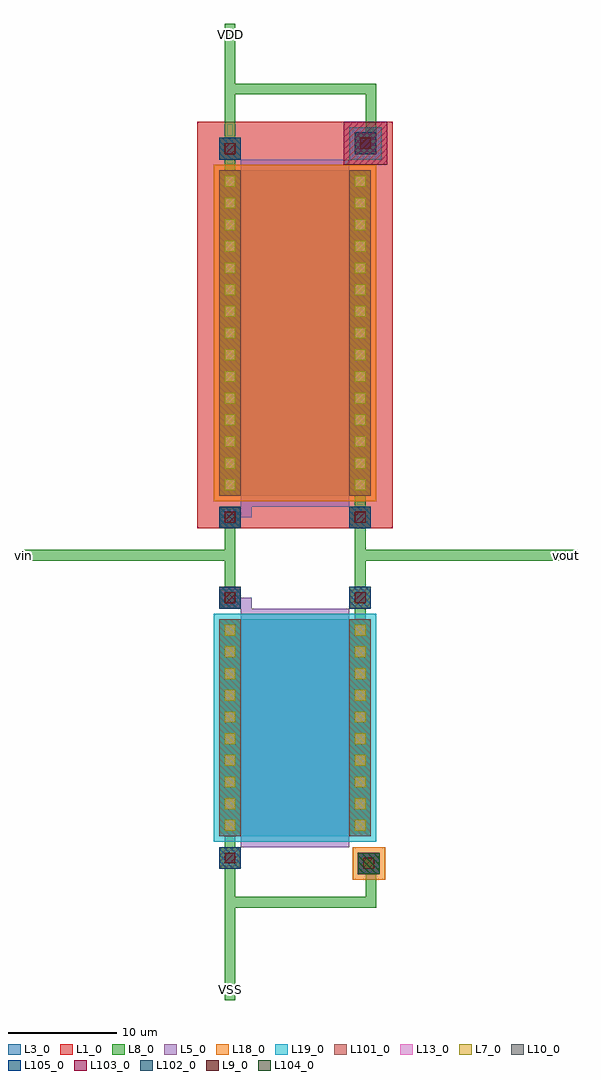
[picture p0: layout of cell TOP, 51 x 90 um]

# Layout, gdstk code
import gdstk
lib = gdstk.Library(unit=1e-6, precision=1e-07)
def R(c, l, rs):  # rectangles x0, y0, x1, y1
    for r in rs: c.add(gdstk.rectangle(r[:2], r[2:], *l))
L1_0 = (1, 0)
L3_0 = (3, 0)
L5_0 = (5, 0)
L7_0 = (7, 0)
L8_0 = (8, 0)
L9_0 = (9, 0)
L10_0 = (10, 0)
L13_0 = (13, 0)
L18_0 = (18, 0)
L19_0 = (19, 0)
L101_0 = (101, 0)
L102_0 = (102, 0)
L103_0 = (103, 0)
L104_0 = (104, 0)
L105_0 = (105, 0)

dcont = lib.new_cell('dcont')
R(dcont, L3_0, [(-1,-1,1,1)])
R(dcont, L7_0, [(-0.5,-0.5,0.5,0.5)])
R(dcont, L8_0, [(-1,-1,1,1)])
R(dcont, L13_0, [(-0.5,-0.5,0.5,0.5)])
R(dcont, L101_0, [(-1,-1,1,1)])

pcont = lib.new_cell('pcont')
R(pcont, L5_0, [(-1,-1,1,1)])
R(pcont, L7_0, [(-0.5,-0.5,0.5,0.5)])
R(pcont, L8_0, [(-1,-1,1,1)])
R(pcont, L13_0, [(-0.5,-0.5,0.5,0.5)])
R(pcont, L102_0, [(-1,-1,1,1)])

via = lib.new_cell('Via')
R(via, L8_0, [(-1,-1,1,1)])
R(via, L9_0, [(-0.5,-0.5,0.5,0.5)])
R(via, L10_0, [(-1,-1,1,1)])
R(via, L13_0, [(-0.5,-0.5,0.5,0.5)])
R(via, L105_0, [(-1,-1,1,1)])

dcont1 = lib.new_cell('dcont1')
R(dcont1, L3_0, [(-1,-1,1,1)])
R(dcont1, L7_0, [(-0.5,-0.5,0.5,0.5)])
R(dcont1, L8_0, [(-1,-1,1,1)])
R(dcont1, L13_0, [(-0.5,-0.5,0.5,0.5)])
R(dcont1, L101_0, [(-1,-1,1,1)])

nsubcont = lib.new_cell('nsubcont')
R(nsubcont, L1_0, [(-2,-2,2,2)])
R(nsubcont, L19_0, [(-1.5,-1.5,1.5,1.5)])
R(nsubcont, L103_0, [(-2,-2,2,2)])
nsubcont.add(gdstk.Reference(dcont1, (0,0)))

pch = lib.new_cell('Pch')
R(pch, L1_0, [(-2,0,16,37.5)])
R(pch, L3_0, [(0,3,14,33)])
R(pch, L18_0, [(-0.5,2.5,14.5,33.5)])
pch.add(gdstk.FlexPath([(7,3),(7,33)], 10, ends=(1, 1), simple_path=True, layer=5, datatype=0))  # L5_0
pch.add(gdstk.FlexPath([(1,1.5),(2.5,1.5),(2.5,2)], 1, ends="flush", simple_path=True, layer=5, datatype=0))  # L5_0
pch.add(gdstk.FlexPath([(1,3),(1,33)], 2, ends="flush", simple_path=True, layer=8, datatype=0))  # L8_0
pch.add(gdstk.FlexPath([(13,3),(13,33)], 2, ends="flush", simple_path=True, layer=8, datatype=0))  # L8_0
pch.add(gdstk.FlexPath([(1,32),(1,35)], 1, ends="flush", simple_path=True, layer=8, datatype=0))  # L8_0
pch.add(gdstk.FlexPath([(13,1),(13,4)], 1, ends="flush", simple_path=True, layer=8, datatype=0))  # L8_0
pch.add(gdstk.Reference(dcont, (1,4)))
pch.add(gdstk.Reference(dcont, (1,6)))
pch.add(gdstk.Reference(dcont, (1,8)))
pch.add(gdstk.Reference(dcont, (1,10)))
pch.add(gdstk.Reference(dcont, (1,12)))
pch.add(gdstk.Reference(dcont, (1,14)))
pch.add(gdstk.Reference(dcont, (1,16)))
pch.add(gdstk.Reference(dcont, (1,18)))
pch.add(gdstk.Reference(dcont, (1,20)))
pch.add(gdstk.Reference(dcont, (1,22)))
pch.add(gdstk.Reference(dcont, (1,24)))
pch.add(gdstk.Reference(dcont, (1,26)))
pch.add(gdstk.Reference(dcont, (1,28)))
pch.add(gdstk.Reference(dcont, (1,30)))
pch.add(gdstk.Reference(dcont, (1,32)))
pch.add(gdstk.Reference(dcont, (13,4)))
pch.add(gdstk.Reference(dcont, (13,6)))
pch.add(gdstk.Reference(dcont, (13,8)))
pch.add(gdstk.Reference(dcont, (13,10)))
pch.add(gdstk.Reference(dcont, (13,12)))
pch.add(gdstk.Reference(dcont, (13,14)))
pch.add(gdstk.Reference(dcont, (13,16)))
pch.add(gdstk.Reference(dcont, (13,18)))
pch.add(gdstk.Reference(dcont, (13,20)))
pch.add(gdstk.Reference(dcont, (13,22)))
pch.add(gdstk.Reference(dcont, (13,24)))
pch.add(gdstk.Reference(dcont, (13,26)))
pch.add(gdstk.Reference(dcont, (13,28)))
pch.add(gdstk.Reference(dcont, (13,30)))
pch.add(gdstk.Reference(dcont, (13,32)))
pch.add(gdstk.Reference(pcont, (1,1)))
pch.add(gdstk.Reference(via, (1,1)))
pch.add(gdstk.Reference(via, (1,35)))
pch.add(gdstk.Reference(via, (13,1)))
pch.add(gdstk.Reference(nsubcont, (13.5,35.5)))
pch.add(gdstk.Reference(via, (13.5,35.5)))

psubcont = lib.new_cell('psubcont')
R(psubcont, L18_0, [(-1.5,-1.5,1.5,1.5)])
R(psubcont, L104_0, [(-1,-1,1,1)])
psubcont.add(gdstk.Reference(dcont1, (0,0)))

nch = lib.new_cell('Nch')
R(nch, L3_0, [(0,3,14,23)])
R(nch, L19_0, [(-0.5,2.5,14.5,23.5)])
nch.add(gdstk.FlexPath([(7,3),(7,23)], 10, ends=(1, 1), simple_path=True, layer=5, datatype=0))  # L5_0
nch.add(gdstk.FlexPath([(1,24.5),(2.5,24.5),(2.5,24)], 1, ends="flush", simple_path=True, layer=5, datatype=0))  # L5_0
nch.add(gdstk.FlexPath([(1,3),(1,23)], 2, ends="flush", simple_path=True, layer=8, datatype=0))  # L8_0
nch.add(gdstk.FlexPath([(13,3),(13,23)], 2, ends="flush", simple_path=True, layer=8, datatype=0))  # L8_0
nch.add(gdstk.FlexPath([(1,1),(1,4)], 1, ends="flush", simple_path=True, layer=8, datatype=0))  # L8_0
nch.add(gdstk.FlexPath([(13,22),(13,25)], 1, ends="flush", simple_path=True, layer=8, datatype=0))  # L8_0
nch.add(gdstk.Reference(dcont, (1,4)))
nch.add(gdstk.Reference(dcont, (1,6)))
nch.add(gdstk.Reference(dcont, (1,8)))
nch.add(gdstk.Reference(dcont, (1,10)))
nch.add(gdstk.Reference(dcont, (1,12)))
nch.add(gdstk.Reference(dcont, (1,14)))
nch.add(gdstk.Reference(dcont, (1,16)))
nch.add(gdstk.Reference(dcont, (1,18)))
nch.add(gdstk.Reference(dcont, (1,20)))
nch.add(gdstk.Reference(dcont, (1,22)))
nch.add(gdstk.Reference(dcont, (13,4)))
nch.add(gdstk.Reference(dcont, (13,6)))
nch.add(gdstk.Reference(dcont, (13,8)))
nch.add(gdstk.Reference(dcont, (13,10)))
nch.add(gdstk.Reference(dcont, (13,12)))
nch.add(gdstk.Reference(dcont, (13,14)))
nch.add(gdstk.Reference(dcont, (13,16)))
nch.add(gdstk.Reference(dcont, (13,18)))
nch.add(gdstk.Reference(dcont, (13,20)))
nch.add(gdstk.Reference(dcont, (13,22)))
nch.add(gdstk.Reference(pcont, (1,25)))
nch.add(gdstk.Reference(via, (1,25)))
nch.add(gdstk.Reference(via, (1,1)))
nch.add(gdstk.Reference(via, (13,25)))
nch.add(gdstk.Reference(psubcont, (13.8,0.5)))
nch.add(gdstk.Reference(via, (13.8,0.5)))

top = lib.new_cell('TOP')
top.add(gdstk.FlexPath([(23,66),(23,78)], 1, ends="flush", simple_path=True, layer=8, datatype=0))  # L8_0
top.add(gdstk.FlexPath([(23,33),(23,25),(23,25)], 1, ends="flush", simple_path=True, layer=8, datatype=0))  # L8_0
top.add(gdstk.FlexPath([(35,33),(35,25)], 1, ends="flush", simple_path=True, layer=8, datatype=0))  # L8_0
top.add(gdstk.FlexPath([(23,29),(4,29)], 1, ends="flush", simple_path=True, layer=8, datatype=0))  # L8_0
top.add(gdstk.FlexPath([(35,29),(55,29)], 1, ends="flush", simple_path=True, layer=8, datatype=0))  # L8_0
top.add(gdstk.FlexPath([(23,1),(23,-12)], 1, ends="flush", simple_path=True, layer=8, datatype=0))  # L8_0
top.add(gdstk.FlexPath([(35,67),(36,67),(36,72),(23,72)], 1, ends="flush", simple_path=True, layer=8, datatype=0))  # L8_0
top.add(gdstk.FlexPath([(36,1),(36,-3),(23,-3),(23,-3)], 1, ends="flush", simple_path=True, layer=8, datatype=0))  # L8_0
top.add(gdstk.Reference(pch, (22,31.5)))
top.add(gdstk.Reference(nch, (22,0.1)))
top.add(gdstk.Label('vin', (4,29), layer=8, texttype=0))
top.add(gdstk.Label('vout', (54,29), layer=8, texttype=0))
top.add(gdstk.Label('VDD', (23,77), layer=8, texttype=0))
top.add(gdstk.Label('VSS', (23,-11), layer=8, texttype=0))

lib.write_gds('TOP.gds')
